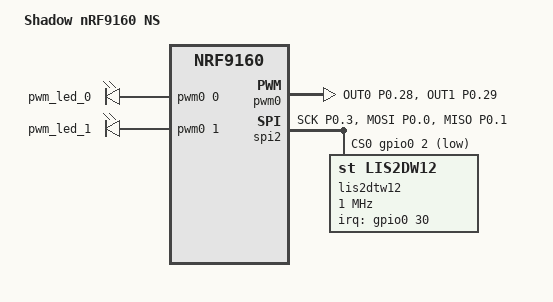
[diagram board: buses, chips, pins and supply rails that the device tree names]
/*
 * Copyright (c) 2026 Nordic Semiconductor ASA
 *
 * SPDX-License-Identifier: LicenseRef-Nordic-5-Clause
 */

/dts-v1/;
#include <arm/nordic/nrf9160_ns_sica.dtsi>
#include <common/nordic/nrf91_partition_sram.dtsi>
#include "../../nrf9160_common.dtsi"

/*
 * Carve out 2 KiB at the start of the application SRAM for the SEGGER RTT
 * control block and buffers at a fixed, known address (0x2000c568).
 */
/delete-node/ &sram0_ns_app;

&sram0_ns {
	sram0_ns_app: sram0_ns@4d68 {
		reg = <0x4d68 0x33298>;
	};
};

/ {
	model = "Shadow nRF9160 NS";
	compatible = "shadow,nrf9160-ns";

	chosen {
		zephyr,flash = &flash0;
		zephyr,sram = &sram0_ns_app;
		zephyr,code-partition = &slot0_ns_partition;
	};

	rtt_sram: sram@2000c568 {
		compatible = "zephyr,memory-region", "mmio-sram";
		reg = <0x2000c568 0x800>;
		zephyr,memory-region = "SRAM_RTT";
	};

	aliases {
		pwm-led0 = &pwm_led_0;
		pwm-led1 = &pwm_led_1;
		rtt-custom-section = &rtt_sram;
	};

	pwmleds {
		compatible = "pwm-leds";
		pwm_led_0: pwm_led_0 {
			pwms = <&pwm0 0 PWM_MSEC(20) PWM_POLARITY_NORMAL>;
		};
		pwm_led_1: pwm_led_1 {
			pwms = <&pwm0 1 PWM_MSEC(20) PWM_POLARITY_NORMAL>;
		};
	};
};

&pwm0 {
	status = "okay";
	pinctrl-0 = <&pwm0_default>;
	pinctrl-1 = <&pwm0_sleep>;
	pinctrl-names = "default", "sleep";
};

&spi2 {
	compatible = "nordic,nrf-spim";
	status = "okay";
	pinctrl-0 = <&spi2_default>;
	pinctrl-1 = <&spi2_sleep>;
	pinctrl-names = "default", "sleep";
	cs-gpios = <&gpio0 2 GPIO_ACTIVE_LOW>;

	lis2dtw12: lis2dtw12@0 {
		compatible = "st,lis2dw12";
		reg = <0>;
		spi-max-frequency = <1000000>;
		irq-gpios = <&gpio0 30 GPIO_ACTIVE_HIGH>;
		int-pin = <2>;
		odr = <25>;
		range = <2>;
		power-mode = <0>;
		low-noise;
		hp-filter-path;
		wakeup-duration = <1>;
		/* INT1: P0.30 (wake-up), INT2: P0.31 (DRDY) */
	};
};

&gpio0 {
	status = "okay";
};

&gpiote {
	status = "okay";
};


&pinctrl {
	pwm0_default: pwm0_default {
		group1 {
			psels = <NRF_PSEL(PWM_OUT0, 0, 28)>,
				<NRF_PSEL(PWM_OUT1, 0, 29)>;
		};
	};
	pwm0_sleep: pwm0_sleep {
		group1 {
			psels = <NRF_PSEL(PWM_OUT0, 0, 28)>,
				<NRF_PSEL(PWM_OUT1, 0, 29)>;
			low-power-enable;
		};
	};
	spi2_default: spi2_default {
		group1 {
			psels = <NRF_PSEL(SPIM_SCK, 0, 3)>,
				<NRF_PSEL(SPIM_MOSI, 0, 0)>,
				<NRF_PSEL(SPIM_MISO, 0, 1)>;
		};
	};
	spi2_sleep: spi2_sleep {
		group1 {
			psels = <NRF_PSEL(SPIM_SCK, 0, 3)>,
				<NRF_PSEL(SPIM_MOSI, 0, 0)>,
				<NRF_PSEL(SPIM_MISO, 0, 1)>;
			low-power-enable;
		};
	};

};
